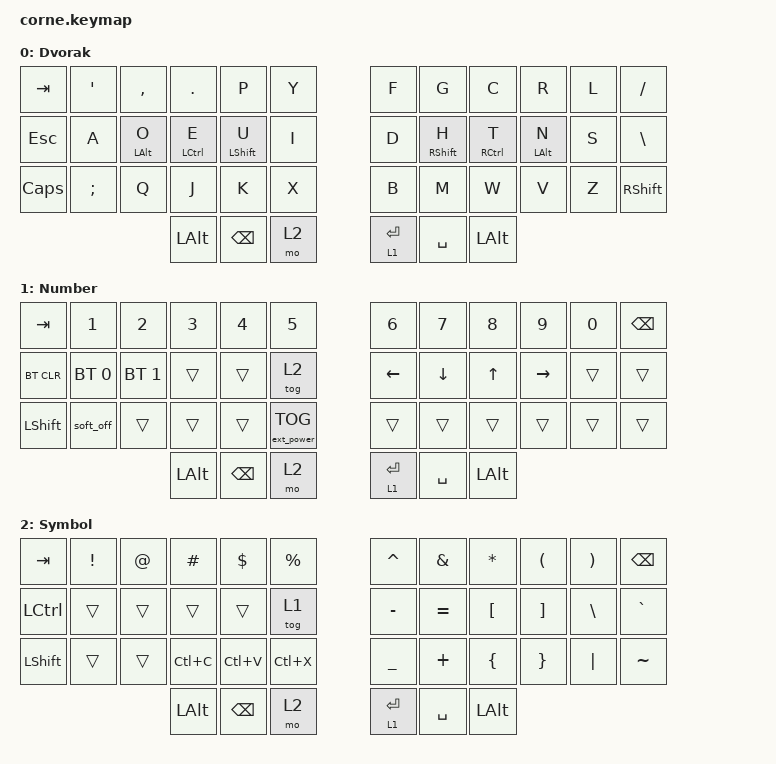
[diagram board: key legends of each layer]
/* Copyright (c) 2020 The ZMK Contributors
 *
 * SPDX-License-Identifier: MIT
 */

#include <behaviors.dtsi>
#include <dt-bindings/zmk/bt.h>
#include <dt-bindings/zmk/ext_power.h>
#include <dt-bindings/zmk/keys.h>
#include <dt-bindings/zmk/rgb.h>

/ {
   chosen {
        zmk,kscan = &kscan0;
        zmk,matrix-transform = &default_transform;
    zmk,underglow = &led_strip;
    };

    macros {
        lower_layer: lower_layer {
            compatible = "zmk,behavior-macro";
            #binding-cells = <0>;
            bindings =
                <&macro_press>,
                <&mo 1>,
                <&macro_tap>,
                <&rgb_ug RGB_ON &rgb_ug RGB_COLOR_HSB(174,251,0)>,
                <&macro_pause_for_release>,
                <&macro_release>,
                <&mo 1>,
                <&macro_tap>,
                <&rgb_ug RGB_OFF>;

            label = "LOWER_LAYER";
        };
    };

    behaviors {
        hmr: hmr {
            compatible = "zmk,behavior-hold-tap";
            label = "HMR";
            bindings = <&kp>, <&kp>;

            #binding-cells = <2>;
            tapping-term-ms = <280>;
            quick-tap-ms = <175>;
            flavor = "balanced";
            hold-trigger-key-positions = <0 1 2 4 5 12 13 14 15 16 17 24 25 26 27 28 29 36 37 38 3 39 40 41>;
            hold-trigger-on-release;
        };

        hml: hml {
            compatible = "zmk,behavior-hold-tap";
            label = "HML";
            bindings = <&kp>, <&kp>;

            #binding-cells = <2>;
            tapping-term-ms = <280>;
            quick-tap-ms = <175>;
            flavor = "balanced";
            hold-trigger-on-release;
            hold-trigger-key-positions = <36 37 38 6 7 8 9 10 11 18 19 20 21 22 23 30 31 32 33 34 35 39 40 41>;
        };
    };

    keymap {
        compatible = "zmk,keymap";

        default_layer {
            label = "Dvorak";

            // -----------------------------------------------------------------------------------------
            // |  TAB |  Q  |  W  |  E  |  R  |  T  |   |  Y  |  U   |  I  |  O  |  P  | BSPC |
            // | CTRL |  A  |  S  |  D  |  F  |  G  |   |  H  |  J   |  K  |  L  |  ;  |  '   |
            // | SHFT |  Z  |  X  |  C  |  V  |  B  |   |  N  |  M   |  ,  |  .  |  /  | ESC  |
            //                    | GUI | LWR | SPC |   | ENT | RSE  | ALT |

            bindings = <
&kp TAB       &kp APOSTROPHE  &kp COMMA        &kp PERIOD           &kp P              &kp Y    &kp F      &kp G               &kp C                 &kp R            &kp L  &kp SLASH
&kp ESCAPE    &kp A           &hml LEFT_ALT O  &hml LEFT_CONTROL E  &hml LEFT_SHIFT U  &kp I    &kp D      &hmr RIGHT_SHIFT H  &hmr RIGHT_CONTROL T  &hmr LEFT_ALT N  &kp S  &kp BACKSLASH
&kp CAPSLOCK  &kp SEMI        &kp Q            &kp J                &kp K              &kp X    &kp B      &kp M               &kp W                 &kp V            &kp Z  &kp RIGHT_SHIFT
                                               &kp LEFT_ALT         &kp BACKSPACE      &mo 2    &lt 1 RET  &kp SPACE           &kp LEFT_ALT
            >;
        };

        lower_layer {
            label = "Number";

            // -----------------------------------------------------------------------------------------
            // |  TAB |  1  |  2  |  3  |  4  |  5  |   |  6  |  7  |  8  |  9  |  0  | BSPC |
            // | BTCLR| BT1 | BT2 | BT3 | BT4 | BT5 |   | LFT | DWN |  UP | RGT |     |      |
            // | SHFT |     |     |     |     |     |   |     |     |     |     |     |      |
            //                    | GUI |     | SPC |   | ENT |     | ALT |

            bindings = <
&kp TAB     &kp N1        &kp N2        &kp N3        &kp N4         &kp N5               &kp N6       &kp N7     &kp N8        &kp N9     &kp N0  &kp BSPC
&bt BT_CLR  &bt BT_SEL 0  &bt BT_SEL 1  &trans        &trans         &tog 2               &kp LEFT     &kp DOWN   &kp UP        &kp RIGHT  &trans  &trans
&kp LSHFT   &soft_off     &trans        &trans        &trans         &ext_power EP_TOG    &trans       &trans     &trans        &trans     &trans  &trans
                                        &kp LEFT_ALT  &kp BACKSPACE  &mo 2                &lt 1 ENTER  &kp SPACE  &kp LEFT_ALT
            >;
        };

        raise_layer {
            label = "Symbol";

            // -----------------------------------------------------------------------------------------
            // |  TAB |  !  |  @  |  #  |  $  |  %  |   |  ^  |  &  |  *  |  (  |  )  | BSPC |
            // | CTRL |     |     |     |     |     |   |  -  |  =  |  [  |  ]  |  \  |  `   |
            // | SHFT |     |     |     |     |     |   |  _  |  +  |  {  |  }  | "|" |  ~   |
            //                    | GUI |     | SPC |   | ENT |     | ALT |

            bindings = <
&kp TAB    &kp EXCL  &kp AT  &kp HASH      &kp DLLR       &kp PRCNT    &kp CARET    &kp AMPS   &kp ASTRK     &kp LPAR  &kp RPAR  &kp BSPC
&kp LCTRL  &trans    &trans  &trans        &trans         &tog 1       &kp MINUS    &kp EQUAL  &kp LBKT      &kp RBKT  &kp BSLH  &kp GRAVE
&kp LSHFT  &trans    &trans  &kp LC(C)     &kp LC(V)      &kp LC(X)    &kp UNDER    &kp PLUS   &kp LBRC      &kp RBRC  &kp PIPE  &kp TILDE
                             &kp LEFT_ALT  &kp BACKSPACE  &mo 2        &lt 1 ENTER  &kp SPACE  &kp LEFT_ALT
            >;
        };
    };
soft_off_wakers {
  compatible = "zmk,soft-off-wakeup-sources";
  wakeup-sources = <&kscan0>;
};

};
